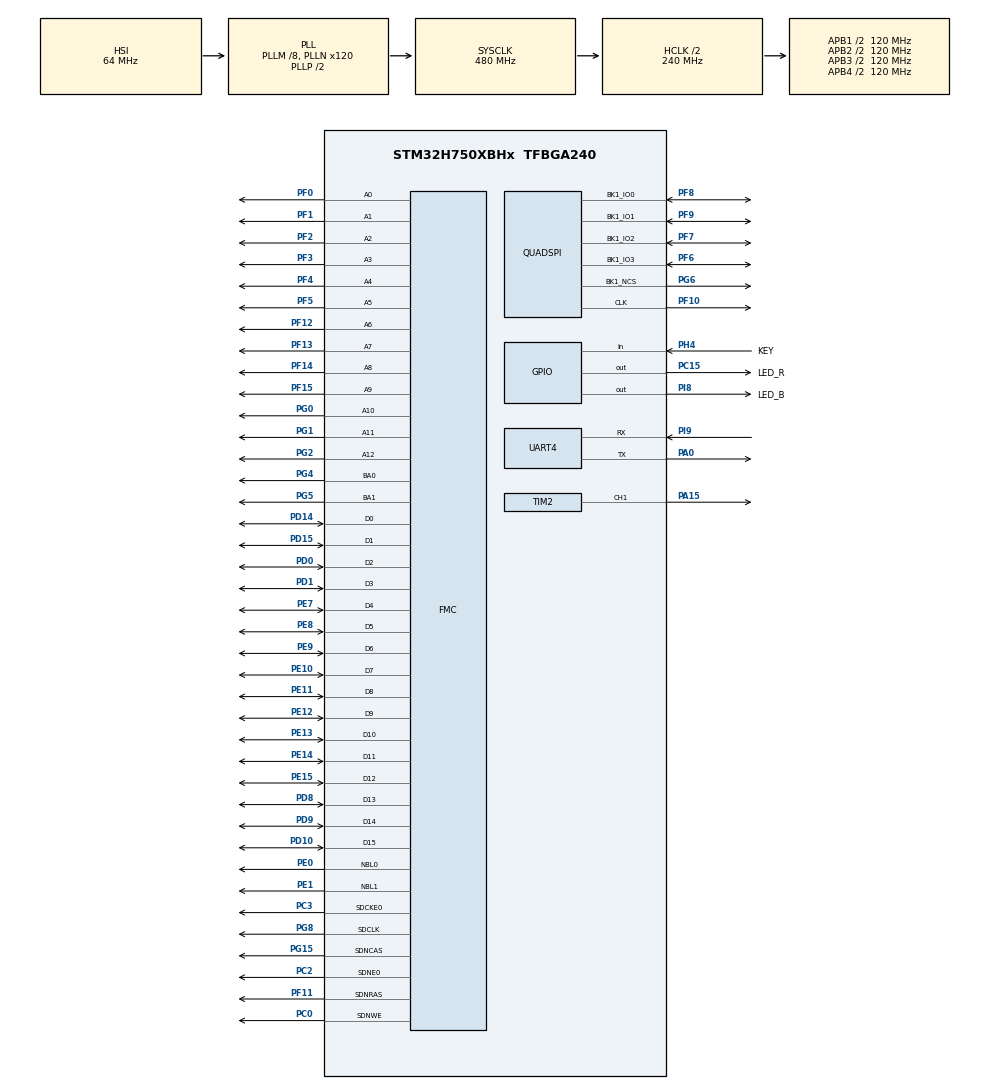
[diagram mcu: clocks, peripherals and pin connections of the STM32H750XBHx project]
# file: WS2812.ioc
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Dma.Request0=TIM2_CH1
Dma.TIM2_CH1.0.Direction=DMA_MEMORY_TO_PERIPH
Dma.TIM2_CH1.0.EventEnable=DISABLE
Dma.TIM2_CH1.0.FIFOMode=DMA_FIFOMODE_DISABLE
Dma.TIM2_CH1.0.Instance=DMA1_Stream5
Dma.TIM2_CH1.0.MemDataAlignment=DMA_MDATAALIGN_WORD
Dma.TIM2_CH1.0.MemInc=DMA_MINC_ENABLE
Dma.TIM2_CH1.0.Mode=DMA_CIRCULAR
Dma.TIM2_CH1.0.PeriphDataAlignment=DMA_PDATAALIGN_WORD
Dma.TIM2_CH1.0.PeriphInc=DMA_PINC_DISABLE
Dma.TIM2_CH1.0.Polarity=HAL_DMAMUX_REQ_GEN_RISING
Dma.TIM2_CH1.0.Priority=DMA_PRIORITY_LOW
Dma.TIM2_CH1.0.RequestNumber=1
Dma.TIM2_CH1.0.SignalID=NONE
Dma.TIM2_CH1.0.SyncEnable=DISABLE
Dma.TIM2_CH1.0.SyncPolarity=HAL_DMAMUX_SYNC_NO_EVENT
Dma.TIM2_CH1.0.SyncRequestNumber=1
Dma.TIM2_CH1.0.SyncSignalID=NONE
FMC.CASLatency1=FMC_SDRAM_CAS_LATENCY_3
FMC.ColumnBitsNumber1=FMC_SDRAM_COLUMN_BITS_NUM_9
FMC.ExitSelfRefreshDelay1=8
FMC.LoadToActiveDelay1=2
FMC.RCDDelay1=2
FMC.RPDelay1=2
FMC.RPDelay2=2
FMC.ReadBurst1=FMC_SDRAM_RBURST_ENABLE
FMC.ReadBurst2=FMC_SDRAM_RBURST_ENABLE
FMC.ReadPipeDelay1=FMC_SDRAM_RPIPE_DELAY_1
FMC.ReadPipeDelay2=FMC_SDRAM_RPIPE_DELAY_1
FMC.RowCycleDelay1=7
FMC.RowCycleDelay2=7
FMC.SDClockPeriod1=FMC_SDRAM_CLOCK_PERIOD_2
FMC.SDClockPeriod2=FMC_SDRAM_CLOCK_PERIOD_2
FMC.SelfRefreshTime1=6
FMC.WriteRecoveryTime1=5
Mcu.Family=STM32H7
Mcu.Name=STM32H750XBHx
Mcu.Package=TFBGA240
NVIC.DMA1_Stream5_IRQn=true\:0\:0\:false\:false\:true\:false\:true
NVIC.PriorityGroup=NVIC_PRIORITYGROUP_4
NVIC.TIM3_IRQn=true\:0\:0\:false\:false\:true\:true\:true
PA0.Mode=Asynchronous
PA0.PinAttribute=Free
PA0.Signal=UART4_TX
PA13\ (JTMS/SWDIO).Mode=Serial_Wire
PA13\ (JTMS/SWDIO).Signal=DEBUG_JTMS-SWDIO
PA14\ (JTCK/SWCLK).Mode=Serial_Wire
PA14\ (JTCK/SWCLK).Signal=DEBUG_JTCK-SWCLK
PA15\ (JTDI).Signal=S_TIM2_CH1
PC0.PinAttribute=Free
PC0.Signal=FMC_SDNWE
PC14-OSC32_IN\ (OSC32_IN).Mode=LSE-External-Clock-Source
PC14-OSC32_IN\ (OSC32_IN).Signal=RCC_OSC32_IN
PC15-OSC32_OUT\ (OSC32_OUT).GPIO_Label=LED_R
PC15-OSC32_OUT\ (OSC32_OUT).Signal=GPIO_Output
PC2.Mode=SdramChipSelect1_1
PC2.PinAttribute=Free
PC2.Signal=FMC_SDNE0
PC3.Mode=SdramChipSelect1_1
PC3.PinAttribute=Free
PC3.Signal=FMC_SDCKE0
PD0.Signal=FMC_D2_DA2
PD1.PinAttribute=Free
PD1.Signal=FMC_D3_DA3
PD10.Signal=FMC_D15_DA15
PD14.Signal=FMC_D0_DA0
PD15.Signal=FMC_D1_DA1
PD8.Signal=FMC_D13_DA13
PD9.Signal=FMC_D14_DA14
PE0.Signal=FMC_NBL0
PE1.Signal=FMC_NBL1
PE10.PinAttribute=Free
PE10.Signal=FMC_D7_DA7
PE11.Signal=FMC_D8_DA8
PE12.Signal=FMC_D9_DA9
PE13.Signal=FMC_D10_DA10
PE14.Signal=FMC_D11_DA11
PE15.Signal=FMC_D12_DA12
PE7.Signal=FMC_D4_DA4
PE8.Signal=FMC_D5_DA5
PE9.Signal=FMC_D6_DA6
PF0.Signal=FMC_A0
PF1.Signal=FMC_A1
PF10.Mode=Single Bank 1
PF10.PinAttribute=Free
PF10.Signal=QUADSPI_CLK
PF11.Signal=FMC_SDNRAS
PF12.Signal=FMC_A6
PF13.Signal=FMC_A7
PF14.Signal=FMC_A8
PF15.Signal=FMC_A9
PF2.PinAttribute=Free
PF2.Signal=FMC_A2
PF3.PinAttribute=Free
PF3.Signal=FMC_A3
PF4.PinAttribute=Free
PF4.Signal=FMC_A4
PF5.PinAttribute=Free
PF5.Signal=FMC_A5
PF6.Mode=Single Bank 1
PF6.PinAttribute=Free
PF6.Signal=QUADSPI_BK1_IO3
PF7.Mode=Single Bank 1
PF7.PinAttribute=Free
PF7.Signal=QUADSPI_BK1_IO2
PF8.Mode=Single Bank 1
PF8.PinAttribute=Free
PF8.Signal=QUADSPI_BK1_IO0
PF9.Mode=Single Bank 1
PF9.PinAttribute=Free
PF9.Signal=QUADSPI_BK1_IO1
PG0.Signal=FMC_A10
PG1.Signal=FMC_A11
PG15.Signal=FMC_SDNCAS
PG2.PinAttribute=Free
PG2.Signal=FMC_A12
PG4.PinAttribute=Free
PG4.Signal=FMC_A14_BA0
PG5.Signal=FMC_A15_BA1
PG6.Mode=Single Bank 1
PG6.PinAttribute=Free
PG6.Signal=QUADSPI_BK1_NCS
PG8.PinAttribute=Free
PG8.Signal=FMC_SDCLK
PH0-OSC_IN\ (PH0).Mode=HSE-External-Oscillator
PH0-OSC_IN\ (PH0).PinAttribute=Free
PH0-OSC_IN\ (PH0).Signal=RCC_OSC_IN
PH1-OSC_OUT\ (PH1).Mode=HSE-External-Oscillator
PH1-OSC_OUT\ (PH1).Signal=RCC_OSC_OUT
PH4.GPIO_Label=KEY
PH4.Signal=GPIO_Input
PI8.GPIO_Label=LED_B
PI8.Signal=GPIO_Output
PI9.Mode=Asynchronous
PI9.PinAttribute=Free
PI9.Signal=UART4_RX
ProjectManager.HeapSize=0x200
ProjectManager.StackSize=0x400
ProjectManager.TargetToolchain=MDK-ARM V5.27
RCC.ADCFreq_Value=129000000
RCC.APB1Freq_Value=120000000
RCC.APB2Freq_Value=120000000
RCC.APB3Freq_Value=120000000
RCC.APB4Freq_Value=120000000
RCC.CortexFreq_Value=480000000
RCC.D1PPRE=RCC_APB3_DIV2
RCC.D2PPRE1=RCC_APB1_DIV2
RCC.D2PPRE2=RCC_APB2_DIV2
RCC.D3PPRE=RCC_APB4_DIV2
RCC.DIVM1=8
RCC.DIVN1=120
RCC.HCLKFreq_Value=240000000
RCC.HPRE=RCC_HCLK_DIV2
RCC.SYSCLKFreq_VALUE=480000000
RCC.SYSCLKSource=RCC_SYSCLKSOURCE_PLLCLK
RCC.USBFreq_Value=480000000
SH.FMC_A0.0=FMC_A0,13b-sda1
SH.FMC_A1.0=FMC_A1,13b-sda1
SH.FMC_A10.0=FMC_A10,13b-sda1
SH.FMC_A11.0=FMC_A11,13b-sda1
SH.FMC_A12.0=FMC_A12,13b-sda1
SH.FMC_A14_BA0.0=FMC_BA0,FourSdramBanks1
SH.FMC_A15_BA1.0=FMC_BA1,FourSdramBanks1
SH.FMC_A2.0=FMC_A2,13b-sda1
SH.FMC_A3.0=FMC_A3,13b-sda1
SH.FMC_A4.0=FMC_A4,13b-sda1
SH.FMC_A5.0=FMC_A5,13b-sda1
SH.FMC_A6.0=FMC_A6,13b-sda1
SH.FMC_A7.0=FMC_A7,13b-sda1
SH.FMC_A8.0=FMC_A8,13b-sda1
SH.FMC_A9.0=FMC_A9,13b-sda1
SH.FMC_D0_DA0.0=FMC_D0,sd-16b-d1
SH.FMC_D10_DA10.0=FMC_D10,sd-16b-d1
SH.FMC_D11_DA11.0=FMC_D11,sd-16b-d1
SH.FMC_D12_DA12.0=FMC_D12,sd-16b-d1
SH.FMC_D13_DA13.0=FMC_D13,sd-16b-d1
SH.FMC_D14_DA14.0=FMC_D14,sd-16b-d1
SH.FMC_D15_DA15.0=FMC_D15,sd-16b-d1
SH.FMC_D1_DA1.0=FMC_D1,sd-16b-d1
SH.FMC_D2_DA2.0=FMC_D2,sd-16b-d1
SH.FMC_D3_DA3.0=FMC_D3,sd-16b-d1
SH.FMC_D4_DA4.0=FMC_D4,sd-16b-d1
SH.FMC_D5_DA5.0=FMC_D5,sd-16b-d1
SH.FMC_D6_DA6.0=FMC_D6,sd-16b-d1
SH.FMC_D7_DA7.0=FMC_D7,sd-16b-d1
SH.FMC_D8_DA8.0=FMC_D8,sd-16b-d1
SH.FMC_D9_DA9.0=FMC_D9,sd-16b-d1
SH.FMC_NBL0.0=FMC_NBL0,Sd2ByteEnable1
SH.FMC_NBL1.0=FMC_NBL1,Sd2ByteEnable1
SH.FMC_SDCLK.0=FMC_SDCLK,13b-sda1
SH.FMC_SDNCAS.0=FMC_SDNCAS,13b-sda1
SH.FMC_SDNRAS.0=FMC_SDNRAS,13b-sda1
SH.FMC_SDNWE.0=FMC_SDNWE,13b-sda1
SH.S_TIM2_CH1.0=TIM2_CH1,PWM Generation1 CH1
TIM2.Channel-PWM\ Generation1\ CH1=TIM_CHANNEL_1
TIM2.Period=78-1
TIM2.Prescaler=4-1
TIM2.Pulse-PWM\ Generation1\ CH1=59
TIM3.AutoReloadPreload=TIM_AUTORELOAD_PRELOAD_ENABLE
TIM3.Period=48000-1
TIM3.Prescaler=80-1
VP_TIM3_VS_ClockSourceINT.Mode=Internal
board=custom

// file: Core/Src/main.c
/* USER CODE BEGIN Header */
/**
  ******************************************************************************
  * @file           : main.c
  * @brief          : Main program body
  ******************************************************************************
  * @attention
  *
  * <h2><center>&copy; Copyright (c) 2021 STMicroelectronics.
  * All rights reserved.</center></h2>
  *
  * This software component is licensed by ST under BSD 3-Clause license,
  * the "License"; You may not use this file except in compliance with the
  * License. You may obtain a copy of the License at:
  *                        opensource.org/licenses/BSD-3-Clause
  *
  ******************************************************************************
  */
/* USER CODE END Header */
#include "main.h"
#include "dma.h"
#include "quadspi.h"
#include "tim.h"
#include "usart.h"
#include "gpio.h"
#include "fmc.h"

/* USER CODE BEGIN Includes */
#include "stdio.h"
#include "SDRAM.h"
#include "WS2812.h"

uint32_t bsp_TestExtSDRAM(void);

//uint8_t testValue __attribute__((at(EXT_SDRAM_ADDR)));
//uint8_t OUT1[33554432] __attribute__((at(EXT_SDRAM_ADDR)));//SDRAM测试函数变量
/* USER CODE END Includes */

void SystemClock_Config(void);

int main(void)
{

  /* MCU Configuration--------------------------------------------------------*/

  /* Reset of all peripherals, Initializes the Flash interface and the Systick. */
  HAL_Init();

  /* Configure the system clock */
  SystemClock_Config();

  /* Initialize all configured peripherals */
  MX_GPIO_Init();
  MX_DMA_Init();
  MX_FMC_Init();
  MX_QUADSPI_Init();
  MX_TIM2_Init();
  MX_UART4_Init();
  MX_TIM3_Init();

  /* USER CODE BEGIN 2 */
	// 清除定时器初始化过程中的更新中断标志，避免定时器一启动就中断
	__HAL_TIM_CLEAR_IT(&htim3, TIM_IT_UPDATE);
	// 使能定时器3更新中断并启动定时器
	HAL_TIM_Base_Start_IT(&htim3);

	uint8_t rh = 11;

	SDRAM_Init();
	printf("SDRAM W9825G6KH初始化成功\r\n");

	WS2812_Init();
	ws2812_SET_Bri(10);
	printf("WS2812初始化成功\r\n");

	/*
	//SDRAM测试
	if (bsp_TestExtSDRAM() == 0) {
			printf("SDRAM测试成功\r\n");
	} else {
			printf("SDRAM测试失败\r\n");
	}
	printf("OUT:\r\n");

	for(int c=1;c<33554430;c=c+1)
	{
		OUT1[c]=c;
		//HAL_Delay(1);
	}

	for(int A=1;A<500;A=A+1)
	{
	//printf("OUT:");
	printf("%d\r\n", OUT1[A]);
	}
	*/

		//int A[3]=LED_colour_red;
		//WS2812_PUT_SET_LED_colour(0,&A[3]);

  /* USER CODE END 2 */

  /* Infinite loop */
  while (1)
  {

    /* USER CODE BEGIN 3 */
		int a[3]=LED_colour_black;
		WS2812_PUT_SET_LED_colour(0,&a[3]);

		WS2812_PUT_SET_LED(0,255,0,255);
		ws2812_send_ONE(0);
		HAL_Delay(500);
		WS2812_PUT_SET_LED(0,0,255,0);
		ws2812_send_ONE(0);
		HAL_Delay(500);

		//WS2812_AUTO_send_OFF();
	/*
  HAL_GPIO_WritePin(LED_R_GPIO_Port, LED_R_Pin, GPIO_PIN_SET);
  HAL_GPIO_WritePin(LED_B_GPIO_Port, LED_B_Pin, GPIO_PIN_SET);
	HAL_Delay(500);
  HAL_GPIO_WritePin(LED_R_GPIO_Port, LED_R_Pin, GPIO_PIN_RESET);
  HAL_GPIO_WritePin(LED_B_GPIO_Port, LED_B_Pin, GPIO_PIN_RESET);
	HAL_Delay(500);
	*/
  }
  /* USER CODE END 3 */
}

void SystemClock_Config(void)
{
  RCC_OscInitTypeDef RCC_OscInitStruct = {0};
  RCC_ClkInitTypeDef RCC_ClkInitStruct = {0};
  RCC_PeriphCLKInitTypeDef PeriphClkInitStruct = {0};

  /** Supply configuration update enable
  */
  HAL_PWREx_ConfigSupply(PWR_LDO_SUPPLY);
  /** Configure the main internal regulator output voltage
  */
  __HAL_PWR_VOLTAGESCALING_CONFIG(PWR_REGULATOR_VOLTAGE_SCALE0);

  while(!__HAL_PWR_GET_FLAG(PWR_FLAG_VOSRDY)) {}
  /** Initializes the RCC Oscillators according to the specified parameters
  * in the RCC_OscInitTypeDef structure.
  */
  RCC_OscInitStruct.OscillatorType = RCC_OSCILLATORTYPE_HSI;
  RCC_OscInitStruct.HSIState = RCC_HSI_DIV1;
  RCC_OscInitStruct.HSICalibrationValue = RCC_HSICALIBRATION_DEFAULT;
  RCC_OscInitStruct.PLL.PLLState = RCC_PLL_ON;
  RCC_OscInitStruct.PLL.PLLSource = RCC_PLLSOURCE_HSI;
  RCC_OscInitStruct.PLL.PLLM = 8;
  RCC_OscInitStruct.PLL.PLLN = 120;
  RCC_OscInitStruct.PLL.PLLP = 2;
  RCC_OscInitStruct.PLL.PLLQ = 2;
  RCC_OscInitStruct.PLL.PLLR = 2;
  RCC_OscInitStruct.PLL.PLLRGE = RCC_PLL1VCIRANGE_3;
  RCC_OscInitStruct.PLL.PLLVCOSEL = RCC_PLL1VCOWIDE;
  RCC_OscInitStruct.PLL.PLLFRACN = 0;
  if (HAL_RCC_OscConfig(&RCC_OscInitStruct) != HAL_OK)
  {
    Error_Handler();
  }
  /** Initializes the CPU, AHB and APB buses clocks
  */
  RCC_ClkInitStruct.ClockType = RCC_CLOCKTYPE_HCLK|RCC_CLOCKTYPE_SYSCLK
                              |RCC_CLOCKTYPE_PCLK1|RCC_CLOCKTYPE_PCLK2
                              |RCC_CLOCKTYPE_D3PCLK1|RCC_CLOCKTYPE_D1PCLK1;
  RCC_ClkInitStruct.SYSCLKSource = RCC_SYSCLKSOURCE_PLLCLK;
  RCC_ClkInitStruct.SYSCLKDivider = RCC_SYSCLK_DIV1;
  RCC_ClkInitStruct.AHBCLKDivider = RCC_HCLK_DIV2;
  RCC_ClkInitStruct.APB3CLKDivider = RCC_APB3_DIV2;
  RCC_ClkInitStruct.APB1CLKDivider = RCC_APB1_DIV2;
  RCC_ClkInitStruct.APB2CLKDivider = RCC_APB2_DIV2;
  RCC_ClkInitStruct.APB4CLKDivider = RCC_APB4_DIV2;

  if (HAL_RCC_ClockConfig(&RCC_ClkInitStruct, FLASH_LATENCY_4) != HAL_OK)
  {
    Error_Handler();
  }
  PeriphClkInitStruct.PeriphClockSelection = RCC_PERIPHCLK_UART4|RCC_PERIPHCLK_QSPI
                              |RCC_PERIPHCLK_FMC;
  PeriphClkInitStruct.FmcClockSelection = RCC_FMCCLKSOURCE_D1HCLK;
  PeriphClkInitStruct.QspiClockSelection = RCC_QSPICLKSOURCE_D1HCLK;
  PeriphClkInitStruct.Usart234578ClockSelection = RCC_USART234578CLKSOURCE_D2PCLK1;
  if (HAL_RCCEx_PeriphCLKConfig(&PeriphClkInitStruct) != HAL_OK)
  {
    Error_Handler();
  }
}

/* USER CODE BEGIN 4 */
uint8_t SDRAM_SendCommand(uint32_t CommandMode, uint32_t Bank, uint32_t RefreshNum, uint32_t RegVal)
{
    uint32_t CommandTarget;
    FMC_SDRAM_CommandTypeDef Command;

    if (Bank == 1) {
        CommandTarget = FMC_SDRAM_CMD_TARGET_BANK1;
    } else if (Bank == 2) {
        CommandTarget = FMC_SDRAM_CMD_TARGET_BANK2;
    }

    Command.CommandMode = CommandMode;
    Command.CommandTarget = CommandTarget;
    Command.AutoRefreshNumber = RefreshNum;
    Command.ModeRegisterDefinition = RegVal;

    if (HAL_SDRAM_SendCommand(&hsdram1, &Command, 0x1000) != HAL_OK) {
        return -1;
    }

    return 0;
}

uint32_t bsp_TestExtSDRAM(void)
{
	uint32_t i;
	uint32_t *pSRAM;
	uint8_t *pBytes;
	uint32_t err;
	const uint8_t ByteBuf[4] = {0x55, 0xA5, 0x5A, 0xAA};

	/* 写SDRAM */
	pSRAM = (uint32_t *)EXT_SDRAM_ADDR;
	for (i = 0; i < EXT_SDRAM_SIZE / 4; i++)
	{
		*pSRAM++ = i;
	}

	/* 读SDRAM */
	err = 0;
	pSRAM = (uint32_t *)EXT_SDRAM_ADDR;
	for (i = 0; i < EXT_SDRAM_SIZE / 4; i++)
	{
		if (*pSRAM++ != i)
		{
			err++;
		}
	}

	if (err >  0)
	{
		printf("错误");
		return  (4 * err);
	}

	/* 对SDRAM 的数据求反并写入 */
	pSRAM = (uint32_t *)EXT_SDRAM_ADDR;
	for (i = 0; i < EXT_SDRAM_SIZE / 4; i++)
	{
		*pSRAM = ~*pSRAM;
		pSRAM++;
	}

	err = 0;
	pSRAM = (uint32_t *)EXT_SDRAM_ADDR;
	for (i = 0; i < EXT_SDRAM_SIZE / 4; i++)
	{
		if (*pSRAM++ != (~i))
		{
			err++;
		}
	}

	if (err >  0)
	{
		printf("错误");
		return (4 * err);
	}
	/* 测试按字节方式访问, 目的是验证 FSMC_NBL0 、 FSMC_NBL1 口线 */
	pBytes = (uint8_t *)EXT_SDRAM_ADDR;
	for (i = 0; i < sizeof(ByteBuf); i++)
	{
		*pBytes++ = ByteBuf[i];
	}

	/* 比较SDRAM的数据 */
	err = 0;
	pBytes = (uint8_t *)EXT_SDRAM_ADDR;
	for (i = 0; i < sizeof(ByteBuf); i++)
	{
		if (*pBytes++ != ByteBuf[i])
		{
			err++;
		}
	}
	if (err >  0)
	{
		printf("错误");
		return err;
	}
	return 0;
}
/* USER CODE END 4 */

void Error_Handler(void)
{
  __disable_irq();
  while (1)
  {
  }
}

/************************ (C) COPYRIGHT STMicroelectronics *****END OF FILE****/
